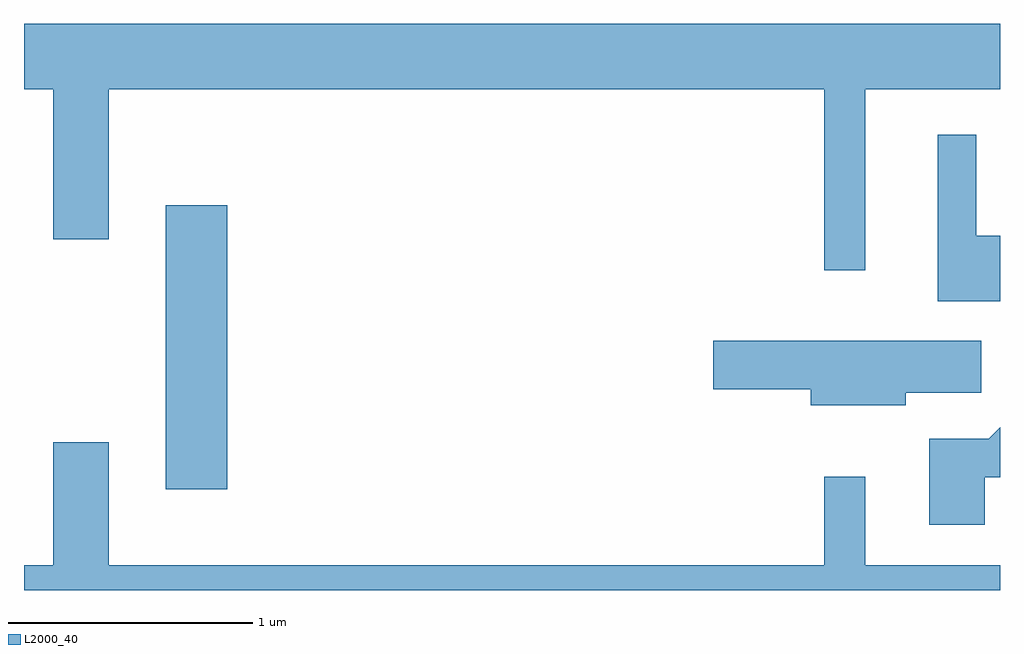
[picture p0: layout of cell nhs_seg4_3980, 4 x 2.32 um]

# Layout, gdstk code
import gdstk
lib = gdstk.Library(unit=1e-6, precision=1e-09)
def R(c, l, rs):  # rectangles x0, y0, x1, y1
    for r in rs: c.add(gdstk.rectangle(r[:2], r[2:], *l))
def P(c, l, *ps):  # polygons
    for p in ps: c.add(gdstk.Polygon(p, *l))
L2000_40 = (2000, 40)

nhs_seg4_3980 = lib.new_cell('nhs_seg4_3980')
R(nhs_seg4_3980, L2000_40, [(302.191,1326.396,302.444,1327.559)])
P(nhs_seg4_3980, L2000_40, [(305.059,1328.036),(305.611,1328.036),(305.611,1328.304),(301.611,1328.304),(301.611,1328.036),(301.731,1328.036),(301.731,1327.421),(301.959,1327.421),(301.959,1328.036),(304.891,1328.036),(304.891,1327.293),(305.059,1327.293)],
  [(305.611,1327.434),(305.514,1327.434),(305.514,1327.848),(305.356,1327.848),(305.356,1327.166),(305.611,1327.166)],
  [(305.224,1326.791),(305.534,1326.791),(305.534,1327.004),(304.436,1327.004),(304.436,1326.806),(304.836,1326.806),(304.836,1326.741),(305.224,1326.741)],
  [(305.549,1326.446),(305.611,1326.446),(305.611,1326.651),(305.564,1326.604),(305.321,1326.604),(305.321,1326.251),(305.549,1326.251)],
  [(304.891,1326.448),(304.891,1326.084),(301.959,1326.084),(301.959,1326.589),(301.731,1326.589),(301.731,1326.084),(301.611,1326.084),(301.611,1325.982),(305.611,1325.982),(305.611,1326.084),(305.059,1326.084),(305.059,1326.448)])

lib.write_gds('nhs_seg4_3980.gds')
